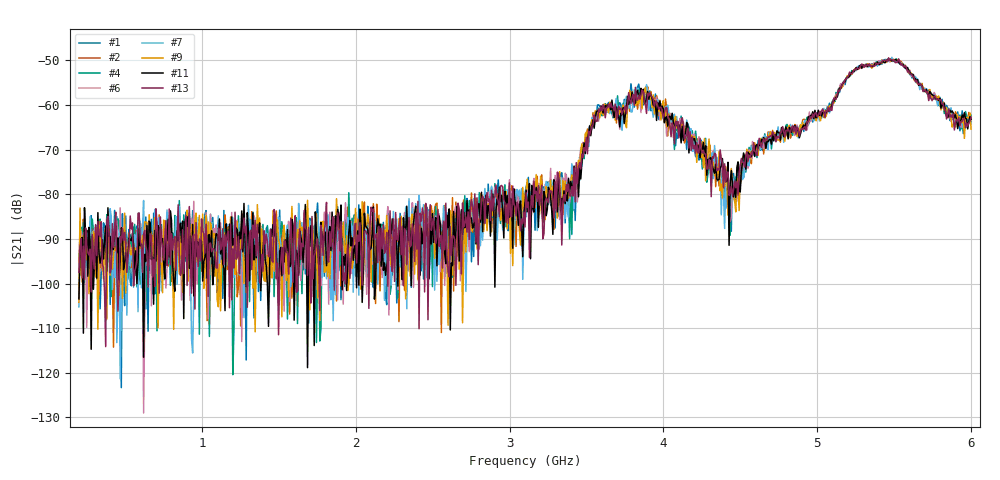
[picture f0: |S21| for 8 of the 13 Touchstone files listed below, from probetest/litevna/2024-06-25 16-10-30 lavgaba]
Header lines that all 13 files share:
! NanoVNA-App
! Start: 200MHz Stop: 6GHz Points: 801
! S-Parameter data: F S11 S21 S12 S22
# Hz S RI R 50
!  Frequency  S11_Real  S11_Imag  S21_Real  S21_Imag  S12_Real  S12_Imag  S22_Real  S22_Imag
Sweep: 200 MHz to 6 GHz
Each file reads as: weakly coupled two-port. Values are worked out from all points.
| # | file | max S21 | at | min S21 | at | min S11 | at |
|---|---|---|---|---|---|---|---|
| 1 | 0.s2p | -49.76 dB | 5.442 GHz | -123.3 dB | 475.5 MHz | -5.5 dB | 2.948 GHz |
| 2 | 1.s2p | -49.60 dB | 5.485 GHz | -114.3 dB | 424.8 MHz | -5.5 dB | 2.948 GHz |
| 3 | 2.s2p | -49.62 dB | 5.463 GHz | -112.8 dB | 2.063 GHz | -5.5 dB | 2.948 GHz |
| 4 | 4.s2p | -49.62 dB | 5.514 GHz | -120.4 dB | 1.2 GHz | -5.5 dB | 2.948 GHz |
| 5 | 6.s2p | -49.66 dB | 5.485 GHz | -111.5 dB | 613.2 MHz | -5.5 dB | 2.948 GHz |
| 6 | 7.s2p | -49.67 dB | 5.492 GHz | -129.0 dB | 620.5 MHz | -5.5 dB | 2.948 GHz |
| 7 | 11.s2p | -49.28 dB | 5.485 GHz | -121.4 dB | 468.2 MHz | -5.5 dB | 2.948 GHz |
| 8 | 15.s2p | -49.65 dB | 5.507 GHz | -111.8 dB | 1.592 GHz | -5.5 dB | 2.948 GHz |
| 9 | 22.s2p | -49.69 dB | 5.463 GHz | -110.8 dB | 1.345 GHz | -5.5 dB | 2.948 GHz |
| 10 | 23.s2p | -49.58 dB | 5.456 GHz | -115.2 dB | 2.324 GHz | -5.5 dB | 2.948 GHz |
| 11 | 25.s2p | -49.78 dB | 5.471 GHz | -118.9 dB | 1.686 GHz | -5.5 dB | 2.948 GHz |
| 12 | 27.s2p | -49.50 dB | 5.471 GHz | -114.1 dB | 838 MHz | -5.5 dB | 2.948 GHz |
| 13 | 32.s2p | -49.41 dB | 5.463 GHz | -114.2 dB | 374 MHz | -5.5 dB | 2.948 GHz |
